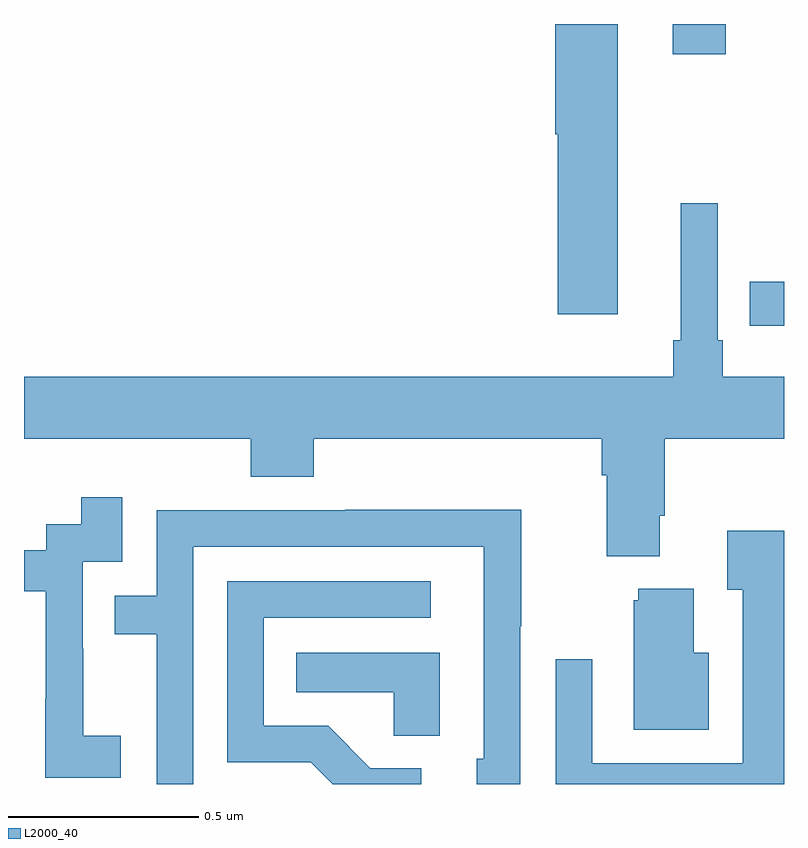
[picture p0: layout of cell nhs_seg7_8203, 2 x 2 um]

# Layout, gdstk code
import gdstk
lib = gdstk.Library(unit=1e-6, precision=1e-09)
def R(c, l, rs):  # rectangles x0, y0, x1, y1
    for r in rs: c.add(gdstk.rectangle(r[:2], r[2:], *l))
def P(c, l, *ps):  # polygons
    for p in ps: c.add(gdstk.Polygon(p, *l))
L2000_40 = (2000, 40)

nhs_seg7_8203 = lib.new_cell('nhs_seg7_8203')
R(nhs_seg7_8203, L2000_40, [(222.91,1042.206,223,1042.322), (222.707,1042.92,222.847,1043)])
P(nhs_seg7_8203, L2000_40, [(222.562,1043),(222.398,1043),(222.398,1042.71),(222.404,1042.71),(222.404,1042.236),(222.562,1042.236)],
  [(222.673,1041.706),(222.686,1041.706),(222.686,1041.908),(223,1041.908),(223,1042.072),(222.839,1042.072),(222.839,1042.168),(222.825,1042.168),(222.825,1042.528),(222.728,1042.528),(222.728,1042.168),(222.709,1042.168),(222.709,1042.072),(221,1042.072),(221,1041.908),(221.597,1041.908),(221.597,1041.809),(221.762,1041.809),(221.762,1041.908),(222.521,1041.908),(222.521,1041.812),(222.533,1041.812),(222.533,1041.599),(222.673,1041.599)],
  [(221.254,1041.127),(221.156,1041.127),(221.156,1041.356),(221.154,1041.356),(221.154,1041.585),(221.259,1041.585),(221.259,1041.754),(221.151,1041.754),(221.151,1041.684),(221.058,1041.684),(221.058,1041.615),(221,1041.615),(221,1041.507),(221.057,1041.507),(221.057,1041.223),(221.056,1041.223),(221.056,1041.017),(221.254,1041.017)],
  [(221.445,1041.624),(222.21,1041.624),(222.21,1041.066),(222.191,1041.066),(222.191,1041),(222.306,1041),(222.306,1041.415),(222.309,1041.415),(222.309,1041.722),(221.845,1041.722),(221.845,1041.72),(221.349,1041.72),(221.349,1041.495),(221.239,1041.495),(221.239,1041.394),(221.349,1041.394),(221.349,1041),(221.445,1041)],
  [(223,1041.667),(222.851,1041.667),(222.851,1041.511),(222.891,1041.511),(222.891,1041.054),(222.495,1041.054),(222.495,1041.328),(222.399,1041.328),(222.399,1041),(223,1041)],
  [(222.046,1041.042),(221.911,1041.042),(221.8,1041.153),(221.631,1041.153),(221.631,1041.438),(222.07,1041.438),(222.07,1041.534),(221.535,1041.534),(221.535,1041.057),(221.754,1041.057),(221.812,1041),(222.046,1041)],
  [(222.802,1041.346),(222.763,1041.346),(222.763,1041.514),(222.617,1041.514),(222.617,1041.483),(222.605,1041.483),(222.605,1041.143),(222.802,1041.143)],
  [(222.094,1041.346),(221.716,1041.346),(221.716,1041.242),(221.973,1041.242),(221.973,1041.127),(222.094,1041.127)])

lib.write_gds('nhs_seg7_8203.gds')
